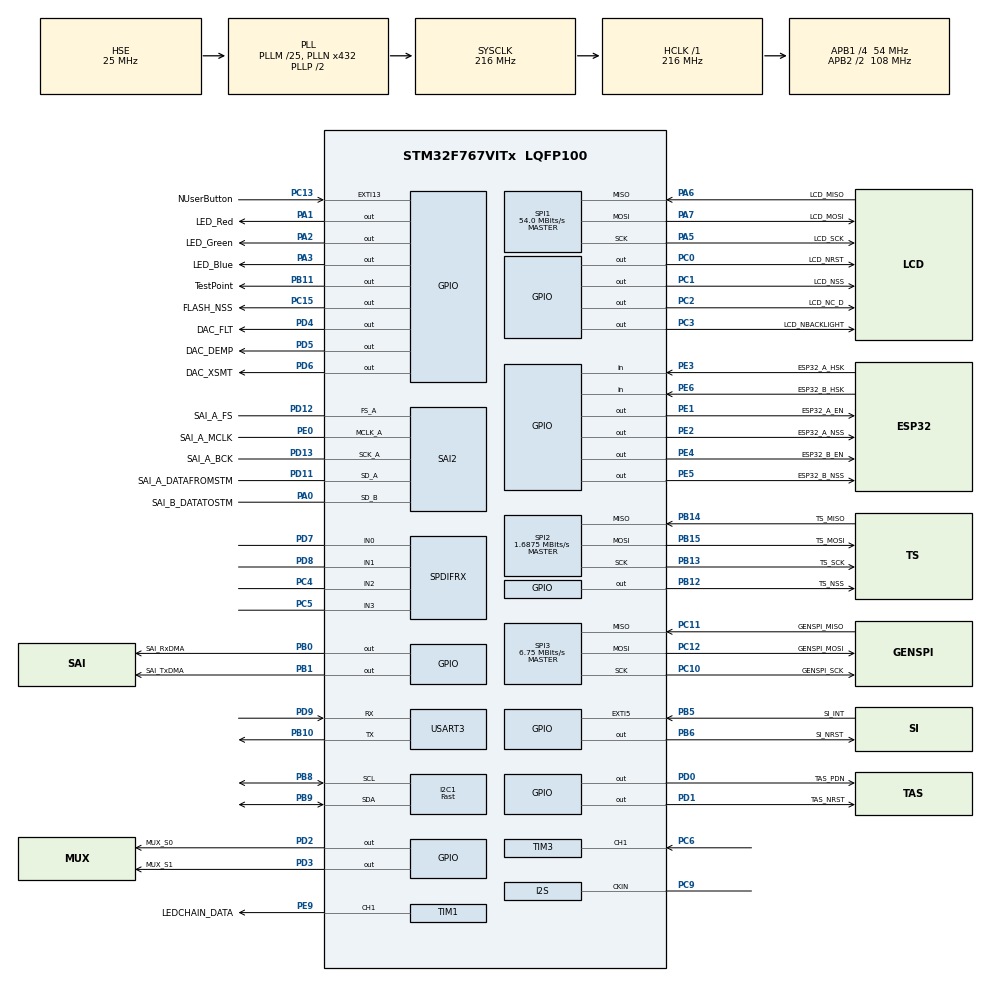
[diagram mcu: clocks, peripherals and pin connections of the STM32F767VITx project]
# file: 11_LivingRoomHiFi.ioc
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CORTEX_M7.CPU_DCache=Enabled
CORTEX_M7.CPU_ICache=Enabled
Dma.I2C1_RX.1.Direction=DMA_PERIPH_TO_MEMORY
Dma.I2C1_RX.1.FIFOMode=DMA_FIFOMODE_DISABLE
Dma.I2C1_RX.1.Instance=DMA1_Stream0
Dma.I2C1_RX.1.MemDataAlignment=DMA_MDATAALIGN_BYTE
Dma.I2C1_RX.1.MemInc=DMA_MINC_ENABLE
Dma.I2C1_RX.1.Mode=DMA_NORMAL
Dma.I2C1_RX.1.PeriphDataAlignment=DMA_PDATAALIGN_BYTE
Dma.I2C1_RX.1.PeriphInc=DMA_PINC_DISABLE
Dma.I2C1_RX.1.Priority=DMA_PRIORITY_HIGH
Dma.I2C1_TX.0.Direction=DMA_MEMORY_TO_PERIPH
Dma.I2C1_TX.0.FIFOMode=DMA_FIFOMODE_DISABLE
Dma.I2C1_TX.0.Instance=DMA1_Stream7
Dma.I2C1_TX.0.MemDataAlignment=DMA_MDATAALIGN_BYTE
Dma.I2C1_TX.0.MemInc=DMA_MINC_ENABLE
Dma.I2C1_TX.0.Mode=DMA_NORMAL
Dma.I2C1_TX.0.PeriphDataAlignment=DMA_PDATAALIGN_BYTE
Dma.I2C1_TX.0.PeriphInc=DMA_PINC_DISABLE
Dma.I2C1_TX.0.Priority=DMA_PRIORITY_HIGH
Dma.Request0=I2C1_TX
Dma.Request1=I2C1_RX
Dma.Request2=SPI1_TX
Dma.Request3=SAI2_A
Dma.Request4=SPDIF_RX_DT
Dma.Request5=SPDIF_RX_CS
Dma.Request6=TIM1_CH1
Dma.Request7=SPI3_TX
Dma.Request8=SAI2_B
Dma.SAI2_A.3.Direction=DMA_MEMORY_TO_PERIPH
Dma.SAI2_A.3.FIFOMode=DMA_FIFOMODE_DISABLE
Dma.SAI2_A.3.Instance=DMA2_Stream2
Dma.SAI2_A.3.MemDataAlignment=DMA_MDATAALIGN_WORD
Dma.SAI2_A.3.MemInc=DMA_MINC_ENABLE
Dma.SAI2_A.3.Mode=DMA_CIRCULAR
Dma.SAI2_A.3.PeriphDataAlignment=DMA_PDATAALIGN_WORD
Dma.SAI2_A.3.PeriphInc=DMA_PINC_DISABLE
Dma.SAI2_A.3.Priority=DMA_PRIORITY_HIGH
Dma.SAI2_B.8.Direction=DMA_PERIPH_TO_MEMORY
Dma.SAI2_B.8.FIFOMode=DMA_FIFOMODE_DISABLE
Dma.SAI2_B.8.Instance=DMA2_Stream6
Dma.SAI2_B.8.MemDataAlignment=DMA_MDATAALIGN_WORD
Dma.SAI2_B.8.MemInc=DMA_MINC_ENABLE
Dma.SAI2_B.8.Mode=DMA_CIRCULAR
Dma.SAI2_B.8.PeriphDataAlignment=DMA_PDATAALIGN_WORD
Dma.SAI2_B.8.PeriphInc=DMA_PINC_DISABLE
Dma.SAI2_B.8.Priority=DMA_PRIORITY_HIGH
Dma.SPDIF_RX_CS.5.Direction=DMA_PERIPH_TO_MEMORY
Dma.SPDIF_RX_CS.5.FIFOMode=DMA_FIFOMODE_DISABLE
Dma.SPDIF_RX_CS.5.Instance=DMA1_Stream6
Dma.SPDIF_RX_CS.5.MemDataAlignment=DMA_MDATAALIGN_WORD
Dma.SPDIF_RX_CS.5.MemInc=DMA_MINC_ENABLE
Dma.SPDIF_RX_CS.5.Mode=DMA_CIRCULAR
Dma.SPDIF_RX_CS.5.PeriphDataAlignment=DMA_PDATAALIGN_WORD
Dma.SPDIF_RX_CS.5.PeriphInc=DMA_PINC_DISABLE
Dma.SPDIF_RX_CS.5.Priority=DMA_PRIORITY_LOW
Dma.SPDIF_RX_DT.4.Direction=DMA_PERIPH_TO_MEMORY
Dma.SPDIF_RX_DT.4.FIFOMode=DMA_FIFOMODE_DISABLE
Dma.SPDIF_RX_DT.4.Instance=DMA1_Stream1
Dma.SPDIF_RX_DT.4.MemDataAlignment=DMA_MDATAALIGN_WORD
Dma.SPDIF_RX_DT.4.MemInc=DMA_MINC_ENABLE
Dma.SPDIF_RX_DT.4.Mode=DMA_CIRCULAR
Dma.SPDIF_RX_DT.4.PeriphDataAlignment=DMA_PDATAALIGN_WORD
Dma.SPDIF_RX_DT.4.PeriphInc=DMA_PINC_DISABLE
Dma.SPDIF_RX_DT.4.Priority=DMA_PRIORITY_HIGH
Dma.SPI1_TX.2.Direction=DMA_MEMORY_TO_PERIPH
Dma.SPI1_TX.2.FIFOMode=DMA_FIFOMODE_ENABLE
Dma.SPI1_TX.2.FIFOThreshold=DMA_FIFO_THRESHOLD_FULL
Dma.SPI1_TX.2.Instance=DMA2_Stream3
Dma.SPI1_TX.2.MemBurst=DMA_MBURST_SINGLE
Dma.SPI1_TX.2.MemDataAlignment=DMA_MDATAALIGN_BYTE
Dma.SPI1_TX.2.MemInc=DMA_MINC_ENABLE
Dma.SPI1_TX.2.Mode=DMA_NORMAL
Dma.SPI1_TX.2.PeriphBurst=DMA_PBURST_SINGLE
Dma.SPI1_TX.2.PeriphDataAlignment=DMA_PDATAALIGN_BYTE
Dma.SPI1_TX.2.PeriphInc=DMA_PINC_DISABLE
Dma.SPI1_TX.2.Priority=DMA_PRIORITY_MEDIUM
Dma.SPI3_TX.7.Direction=DMA_MEMORY_TO_PERIPH
Dma.SPI3_TX.7.FIFOMode=DMA_FIFOMODE_ENABLE
Dma.SPI3_TX.7.FIFOThreshold=DMA_FIFO_THRESHOLD_FULL
Dma.SPI3_TX.7.Instance=DMA1_Stream5
Dma.SPI3_TX.7.MemBurst=DMA_MBURST_SINGLE
Dma.SPI3_TX.7.MemDataAlignment=DMA_MDATAALIGN_BYTE
Dma.SPI3_TX.7.MemInc=DMA_MINC_ENABLE
Dma.SPI3_TX.7.Mode=DMA_NORMAL
Dma.SPI3_TX.7.PeriphBurst=DMA_PBURST_SINGLE
Dma.SPI3_TX.7.PeriphDataAlignment=DMA_PDATAALIGN_BYTE
Dma.SPI3_TX.7.PeriphInc=DMA_PINC_DISABLE
Dma.SPI3_TX.7.Priority=DMA_PRIORITY_HIGH
Dma.TIM1_CH1.6.Direction=DMA_MEMORY_TO_PERIPH
Dma.TIM1_CH1.6.FIFOMode=DMA_FIFOMODE_ENABLE
Dma.TIM1_CH1.6.FIFOThreshold=DMA_FIFO_THRESHOLD_FULL
Dma.TIM1_CH1.6.Instance=DMA2_Stream1
Dma.TIM1_CH1.6.MemBurst=DMA_MBURST_SINGLE
Dma.TIM1_CH1.6.MemDataAlignment=DMA_MDATAALIGN_HALFWORD
Dma.TIM1_CH1.6.MemInc=DMA_MINC_ENABLE
Dma.TIM1_CH1.6.Mode=DMA_NORMAL
Dma.TIM1_CH1.6.PeriphBurst=DMA_PBURST_SINGLE
Dma.TIM1_CH1.6.PeriphDataAlignment=DMA_PDATAALIGN_HALFWORD
Dma.TIM1_CH1.6.PeriphInc=DMA_PINC_DISABLE
Dma.TIM1_CH1.6.Priority=DMA_PRIORITY_MEDIUM
FREERTOS.BinarySemaphores01=GenSPITransferCompleteSemaphore,Dynamic,NULL
FREERTOS.Mutexes01=SPI3_Mutex,Dynamic,NULL
FREERTOS.Queues01=ProcessAudioTaskParameterQueue,1,uint16_t,0,Dynamic,NULL,NULL
FREERTOS.Tasks01=MainTask,0,2048,MainTask_Start,Default,NULL,Dynamic,NULL,NULL;ProcessAudioTask,1,2048,ProcessAudioTask_Start,Default,NULL,Dynamic,NULL,NULL
FREERTOS.configMAX_TASK_NAME_LEN=32
FREERTOS.configMINIMAL_STACK_SIZE=2048
FREERTOS.configTOTAL_HEAP_SIZE=65536
FREERTOS.configUSE_NEWLIB_REENTRANT=1
I2C1.I2C_Speed_Mode=I2C_Fast
I2C1.Timing=0x6000030D
Mcu.Family=STM32F7
Mcu.Name=STM32F767VITx
Mcu.Package=LQFP100
NVIC.DMA1_Stream0_IRQn=true\:5\:0\:false\:false\:true\:true\:false\:true\:true
NVIC.DMA1_Stream1_IRQn=true\:5\:0\:false\:false\:true\:true\:false\:true\:true
NVIC.DMA1_Stream5_IRQn=true\:5\:0\:false\:false\:true\:true\:false\:true\:true
NVIC.DMA1_Stream6_IRQn=true\:5\:0\:false\:false\:true\:true\:false\:true\:true
NVIC.DMA1_Stream7_IRQn=true\:5\:0\:false\:false\:true\:true\:false\:true\:true
NVIC.DMA2_Stream1_IRQn=true\:5\:0\:false\:false\:true\:true\:false\:true\:true
NVIC.DMA2_Stream2_IRQn=true\:5\:0\:true\:false\:true\:true\:false\:true\:true
NVIC.DMA2_Stream3_IRQn=true\:5\:0\:false\:false\:true\:true\:false\:true\:true
NVIC.DMA2_Stream6_IRQn=true\:5\:0\:false\:false\:true\:true\:false\:true\:true
NVIC.EXTI15_10_IRQn=true\:5\:0\:false\:false\:true\:true\:true\:true\:true
NVIC.EXTI9_5_IRQn=true\:5\:0\:false\:false\:true\:true\:true\:true\:true
NVIC.I2C1_ER_IRQn=true\:5\:0\:false\:false\:true\:true\:true\:true\:true
NVIC.I2C1_EV_IRQn=true\:5\:0\:false\:false\:true\:true\:true\:true\:true
NVIC.PriorityGroup=NVIC_PRIORITYGROUP_4
NVIC.SPDIF_RX_IRQn=true\:5\:0\:false\:false\:true\:true\:true\:true\:true
NVIC.TIM1_TRG_COM_TIM11_IRQn=true\:5\:0\:false\:false\:true\:true\:true\:true\:true
NVIC.TIM3_IRQn=true\:5\:0\:false\:false\:true\:true\:true\:true\:true
NVIC.TIM8_TRG_COM_TIM14_IRQn=true\:15\:0\:false\:false\:true\:false\:false\:true\:true
NVIC.TimeBase=TIM8_TRG_COM_TIM14_IRQn
NVIC.TimeBaseIP=TIM14
PA0/WKUP.GPIO_Label=SAI_B_DATATOSTM
PA0/WKUP.Mode=SAI_B_SyncSlave
PA0/WKUP.Signal=SAI2_SD_B
PA1.GPIO_Label=LED_Red
PA1.Signal=GPIO_Output
PA13.GPIO_Label=SWDIO
PA13.Mode=Trace_Asynchronous_SW
PA13.Signal=SYS_JTMS-SWDIO
PA14.GPIO_Label=SWCLK
PA14.Mode=Trace_Asynchronous_SW
PA14.Signal=SYS_JTCK-SWCLK
PA2.GPIO_Label=LED_Green
PA2.Signal=GPIO_Output
PA3.GPIO_Label=LED_Blue
PA3.Signal=GPIO_Output
PA5.GPIO_Label=LCD_SCK
PA5.Mode=Full_Duplex_Master
PA5.Signal=SPI1_SCK
PA6.GPIO_Label=LCD_MISO
PA6.Mode=Full_Duplex_Master
PA6.Signal=SPI1_MISO
PA7.GPIO_Label=LCD_MOSI
PA7.Mode=Full_Duplex_Master
PA7.Signal=SPI1_MOSI
PB0.GPIO_Label=SAI_RxDMA
PB0.GPIO_Speed=GPIO_SPEED_FREQ_HIGH
PB0.Signal=GPIO_Output
PB1.GPIO_Label=SAI_TxDMA
PB1.GPIO_Speed=GPIO_SPEED_FREQ_HIGH
PB1.Signal=GPIO_Output
PB10.Mode=Asynchronous
PB10.Signal=USART3_TX
PB11.GPIO_Label=TestPoint
PB11.GPIO_Speed=GPIO_SPEED_FREQ_HIGH
PB11.PinState=GPIO_PIN_RESET
PB11.Signal=GPIO_Output
PB12.GPIO_Label=TS_NSS
PB12.Signal=GPIO_Output
PB13.GPIO_Label=TS_SCK
PB13.Mode=Full_Duplex_Master
PB13.Signal=SPI2_SCK
PB14.GPIO_Label=TS_MISO
PB14.Mode=Full_Duplex_Master
PB14.Signal=SPI2_MISO
PB15.GPIO_Label=TS_MOSI
PB15.Mode=Full_Duplex_Master
PB15.Signal=SPI2_MOSI
PB3.Mode=Trace_Asynchronous_SW
PB3.Signal=SYS_JTDO-SWO
PB5.GPIO_Label=SI_INT
PB5.GPIO_ModeDefaultEXTI=GPIO_MODE_IT_FALLING
PB5.Signal=GPXTI5
PB6.GPIO_Label=SI_NRST
PB6.Signal=GPIO_Output
PB8.GPIO_Pu=GPIO_PULLUP
PB8.Mode=I2C
PB8.Signal=I2C1_SCL
PB9.GPIO_Pu=GPIO_PULLUP
PB9.Mode=I2C
PB9.Signal=I2C1_SDA
PC0.GPIO_Label=LCD_NRST
PC0.Signal=GPIO_Output
PC1.GPIO_Label=LCD_NSS
PC1.Signal=GPIO_Output
PC10.GPIO_Label=GENSPI_SCK
PC10.Mode=Full_Duplex_Master
PC10.Signal=SPI3_SCK
PC11.GPIO_Label=GENSPI_MISO
PC11.Mode=Full_Duplex_Master
PC11.Signal=SPI3_MISO
PC12.GPIO_Label=GENSPI_MOSI
PC12.Mode=Full_Duplex_Master
PC12.Signal=SPI3_MOSI
PC13.GPIO_Label=NUserButton
PC13.GPIO_ModeDefaultEXTI=GPIO_MODE_IT_FALLING
PC13.GPIO_PuPd=GPIO_PULLUP
PC13.Signal=GPXTI13
PC15/OSC32_OUT.GPIO_Label=FLASH_NSS
PC15/OSC32_OUT.PinState=GPIO_PIN_SET
PC15/OSC32_OUT.Signal=GPIO_Output
PC2.GPIO_Label=LCD_NC_D
PC2.Signal=GPIO_Output
PC3.GPIO_Label=LCD_NBACKLIGHT
PC3.Signal=GPIO_Output
PC4.Mode=IN2
PC4.Signal=SPDIFRX_IN2
PC5.Mode=IN3
PC5.Signal=SPDIFRX_IN3
PC6.Signal=S_TIM3_CH1
PC9.Mode=Audio_ClockIn
PC9.Signal=I2S_CKIN
PD0.GPIO_Label=TAS_PDN
PD0.Signal=GPIO_Output
PD1.GPIO_Label=TAS_NRST
PD1.Signal=GPIO_Output
PD11.GPIO_Label=SAI_A_DATAFROMSTM
PD11.Mode=SAI_A_MasterWithClock
PD11.Signal=SAI2_SD_A
PD12.GPIO_Label=SAI_A_FS
PD12.Mode=SAI_A_MasterWithClock
PD12.Signal=SAI2_FS_A
PD13.GPIO_Label=SAI_A_BCK
PD13.Mode=SAI_A_MasterWithClock
PD13.Signal=SAI2_SCK_A
PD2.GPIO_Label=MUX_S0
PD2.Signal=GPIO_Output
PD3.GPIO_Label=MUX_S1
PD3.Signal=GPIO_Output
PD4.GPIO_Label=DAC_FLT
PD4.Signal=GPIO_Output
PD5.GPIO_Label=DAC_DEMP
PD5.Signal=GPIO_Output
PD6.GPIO_Label=DAC_XSMT
PD6.Signal=GPIO_Output
PD7.Mode=IN0
PD7.Signal=SPDIFRX_IN0
PD8.Mode=IN1
PD8.Signal=SPDIFRX_IN1
PD9.Mode=Asynchronous
PD9.Signal=USART3_RX
PE0.GPIO_Label=SAI_A_MCLK
PE0.Mode=SAI_A_MasterWithClock
PE0.Signal=SAI2_MCLK_A
PE1.GPIO_Label=ESP32_A_EN
PE1.GPIO_Speed=GPIO_SPEED_FREQ_LOW
PE1.PinState=GPIO_PIN_RESET
PE1.Signal=GPIO_Output
PE2.GPIO_Label=ESP32_A_NSS
PE2.GPIO_Speed=GPIO_SPEED_FREQ_HIGH
PE2.PinState=GPIO_PIN_SET
PE2.Signal=GPIO_Output
PE3.GPIO_Label=ESP32_A_HSK
PE3.Signal=GPIO_Input
PE4.GPIO_Label=ESP32_B_EN
PE4.GPIO_Speed=GPIO_SPEED_FREQ_LOW
PE4.PinState=GPIO_PIN_RESET
PE4.Signal=GPIO_Output
PE5.GPIO_Label=ESP32_B_NSS
PE5.GPIO_Speed=GPIO_SPEED_FREQ_HIGH
PE5.PinState=GPIO_PIN_SET
PE5.Signal=GPIO_Output
PE6.GPIO_Label=ESP32_B_HSK
PE6.Signal=GPIO_Input
PE9.GPIO_Label=LEDCHAIN_DATA
PE9.GPIO_Speed=GPIO_SPEED_FREQ_HIGH
PE9.Signal=S_TIM1_CH1
PH0/OSC_IN.GPIO_Label=MCU_CLK_IN
PH0/OSC_IN.Mode=HSE-External-Clock-Source
PH0/OSC_IN.Signal=RCC_OSC_IN
PH1/OSC_OUT.Mode=HSE-External-Clock-Source
PH1/OSC_OUT.Signal=RCC_OSC_OUT
ProjectManager.HeapSize=0x2000
ProjectManager.StackSize=0x4000
ProjectManager.TargetToolchain=STM32CubeIDE
RCC.AHBFreq_Value=216000000
RCC.APB1CLKDivider=RCC_HCLK_DIV4
RCC.APB1Freq_Value=54000000
RCC.APB1TimFreq_Value=108000000
RCC.APB2CLKDivider=RCC_HCLK_DIV2
RCC.APB2Freq_Value=108000000
RCC.APB2TimFreq_Value=216000000
RCC.CortexFreq_Value=216000000
RCC.EXTERNAL_CLOCK_VALUE=11289600
RCC.HCLKFreq_Value=216000000
RCC.HSE_VALUE=25000000
RCC.HSI_VALUE=16000000
RCC.LSE_VALUE=32768
RCC.PLLI2SN=344
RCC.PLLI2SQ=14
RCC.PLLM=25
RCC.PLLN=432
RCC.PLLSAIN=429
RCC.PLLSAIQDiv=19
RCC.PLLSourceVirtual=RCC_PLLSOURCE_HSE
RCC.SAI2CLockSelection=RCC_SAI2CLKSOURCE_PLLI2S
RCC.SYSCLKFreq_VALUE=216000000
RCC.SYSCLKSource=RCC_SYSCLKSOURCE_PLLCLK
RCC.USBFreq_Value=216000000
RCC.VCOOutputFreq_Value=432000000
SAI2.AudioFrequency-SAI_A_MasterWithClock=SAI_AUDIO_FREQUENCY_48K
SAI2.BasicDataSize-SAI_A_MasterWithClock=SAI_PROTOCOL_DATASIZE_24BIT
SAI2.BasicDataSize-SAI_B_SyncSlave=SAI_PROTOCOL_DATASIZE_24BIT
SAI2.ErrorAudioFreq-SAI_A_MasterWithClock=-0.01 %
SAI2.InitProtocol-SAI_A_MasterWithClock=Enable
SAI2.InitProtocol-SAI_B_SyncSlave=Enable
SAI2.Instance-SAI_A_MasterWithClock=SAI$Index_Block_A
SAI2.Instance-SAI_B_SyncSlave=SAI$Index_Block_B
SAI2.MClockEnable-SAI_A_MasterWithClock=SAI_MASTERCLOCK_ENABLE
SAI2.NoDivider-SAI_A_MasterWithClock=SAI_MASTERDIVIDER_ENABLE
SAI2.RealAudioFreq-SAI_A_MasterWithClock=47.991 KHz
SAI2.Synchro-SAI_A_MasterWithClock=SAI_ASYNCHRONOUS
SAI2.Synchro-SAI_B_SyncSlave=SAI_SYNCHRONOUS
SAI2.VirtualMode-SAI_A_MasterWithClock=VM_MASTER
SAI2.VirtualMode-SAI_B_SyncSlave=VM_SLAVE
SAI2.VirtualProtocol-SAI_A_BASIC=VM_BASIC_PROTOCOL
SAI2.VirtualProtocol-SAI_B_BASIC=VM_BASIC_PROTOCOL
SH.S_TIM1_CH1.0=TIM1_CH1,PWM Generation1 CH1
SH.S_TIM3_CH1.0=TIM3_CH1,Input_Capture1_from_TI1
SH.S_TIM3_CH1.1=TIM3_CH1,TriggerSource_TI1FP1
SPDIFRX.ChannelStatusMask=SPDIFRX_CHANNELSTATUS_ON
SPDIFRX.DataFormat=SPDIFRX_DATAFORMAT_MSB
SPDIFRX.ParityErrorMask=SPDIFRX_PARITYERRORMASK_ON
SPDIFRX.PreambleTypeMask=SPDIFRX_PREAMBLETYPEMASK_ON
SPDIFRX.Retries=SPDIFRX_MAXRETRIES_15
SPDIFRX.StereoMode=SPDIFRX_STEREOMODE_ENABLE
SPDIFRX.ValidityBitMask=SPDIFRX_VALIDITYMASK_ON
SPDIFRX.WaitForActivity=SPDIFRX_WAITFORACTIVITY_ON
SPI1.BaudRatePrescaler=SPI_BAUDRATEPRESCALER_2
SPI1.CalculateBaudRate=54.0 MBits/s
SPI1.DataSize=SPI_DATASIZE_8BIT
SPI1.Direction=SPI_DIRECTION_2LINES
SPI1.Mode=SPI_MODE_MASTER
SPI1.VirtualType=VM_MASTER
SPI2.BaudRatePrescaler=SPI_BAUDRATEPRESCALER_32
SPI2.CalculateBaudRate=1.6875 MBits/s
SPI2.DataSize=SPI_DATASIZE_8BIT
SPI2.Direction=SPI_DIRECTION_2LINES
SPI2.Mode=SPI_MODE_MASTER
SPI2.VirtualType=VM_MASTER
SPI3.BaudRatePrescaler=SPI_BAUDRATEPRESCALER_8
SPI3.CalculateBaudRate=6.75 MBits/s
SPI3.DataSize=SPI_DATASIZE_8BIT
SPI3.Direction=SPI_DIRECTION_2LINES
SPI3.Mode=SPI_MODE_MASTER
SPI3.VirtualType=VM_MASTER
TIM1.AutoReloadPreload=TIM_AUTORELOAD_PRELOAD_ENABLE
TIM1.Channel-PWM\ Generation1\ CH1=TIM_CHANNEL_1
TIM1.OCIdleState_1=TIM_OCIDLESTATE_RESET
TIM1.OCPolarity_1=TIM_OCPOLARITY_HIGH
TIM1.Period=269
TIM1.Pulse-PWM\ Generation1\ CH1=0
TIM11.Channel=TIM_CHANNEL_1
TIM11.Period=0xFFFF
TIM11.TIM11_TI1_REMAP=TIM_TIM11_SPDIFRX
TIM3.Channel-Input_Capture1_from_TI1=TIM_CHANNEL_1
TIM3.ICPolarity_CH1=TIM_INPUTCHANNELPOLARITY_BOTHEDGE
TIM3.Period=4999
TIM3.Prescaler=107
USART3.VirtualMode-Asynchronous=VM_ASYNC
VP_FREERTOS_VS_CMSIS_V1.Mode=CMSIS_V1
VP_SAI2_VP_$IpInstance_SAIA_SAI_BASIC.Mode=SAI_A_BASIC
VP_SAI2_VP_$IpInstance_SAIB_SAI_BASIC.Mode=SAI_B_BASIC
VP_SYS_VS_tim14.Mode=TIM14
VP_TIM11_VS_ClockSourceINT.Mode=Enable_Timer
VP_TIM11_VS_NoInput1.Mode=Input_Capture1_from_TI1_REMAP_TIM11
VP_TIM3_VS_ClockSourceINT.Mode=Internal
VP_TIM3_VS_ControllerModeReset.Mode=Reset Mode
board=07_SPDIF_to_DAC+PA

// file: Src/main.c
/* USER CODE BEGIN Header */
/**
  ******************************************************************************
  * @file           : main.c
  * @brief          : Main program body
  ******************************************************************************
  ** This notice applies to any and all portions of this file
  * that are not between comment pairs USER CODE BEGIN and
  * USER CODE END. Other portions of this file, whether
  * inserted by the user or by software development tools
  * are owned by their respective copyright owners.
  *
  * COPYRIGHT(c) 2018 STMicroelectronics
  *
  * Redistribution and use in source and binary forms, with or without modification,
  * are permitted provided that the following conditions are met:
  *   1. Redistributions of source code must retain the above copyright notice,
  *      this list of conditions and the following disclaimer.
  *   2. Redistributions in binary form must reproduce the above copyright notice,
  *      this list of conditions and the following disclaimer in the documentation
  *      and/or other materials provided with the distribution.
  *   3. Neither the name of STMicroelectronics nor the names of its contributors
  *      may be used to endorse or promote products derived from this software
  *      without specific prior written permission.
  *
  * THIS SOFTWARE IS PROVIDED BY THE COPYRIGHT HOLDERS AND CONTRIBUTORS "AS IS"
  * AND ANY EXPRESS OR IMPLIED WARRANTIES, INCLUDING, BUT NOT LIMITED TO, THE
  * IMPLIED WARRANTIES OF MERCHANTABILITY AND FITNESS FOR A PARTICULAR PURPOSE ARE
  * DISCLAIMED. IN NO EVENT SHALL THE COPYRIGHT HOLDER OR CONTRIBUTORS BE LIABLE
  * FOR ANY DIRECT, INDIRECT, INCIDENTAL, SPECIAL, EXEMPLARY, OR CONSEQUENTIAL
  * DAMAGES (INCLUDING, BUT NOT LIMITED TO, PROCUREMENT OF SUBSTITUTE GOODS OR
  * SERVICES; LOSS OF USE, DATA, OR PROFITS; OR BUSINESS INTERRUPTION) HOWEVER
  * CAUSED AND ON ANY THEORY OF LIABILITY, WHETHER IN CONTRACT, STRICT LIABILITY,
  * OR TORT (INCLUDING NEGLIGENCE OR OTHERWISE) ARISING IN ANY WAY OUT OF THE USE
  * OF THIS SOFTWARE, EVEN IF ADVISED OF THE POSSIBILITY OF SUCH DAMAGE.
  *
  ******************************************************************************
  */
/* USER CODE END Header */
#include "main.h"
#include "cmsis_os.h"
#include "dma.h"
#include "i2c.h"
#include "sai.h"
#include "spdifrx.h"
#include "spi.h"
#include "tim.h"
#include "usart.h"
#include "gpio.h"

/* USER CODE BEGIN Includes */

#include "JSB_General.h"
#include "JSB_DWT.h"
#include "PJB_STM32_ESP32_FM_DAB_ADC_DAC_PA.h"
#include "go.h"

/* USER CODE END Includes */

/* USER CODE BEGIN PV */
/* Private variables ---------------------------------------------------------*/

/* USER CODE END PV */

void SystemClock_Config(void);
void PeriphCommonClock_Config(void);
void MX_FREERTOS_Init(void);
/* USER CODE BEGIN PFP */
/* Private function prototypes -----------------------------------------------*/

/* USER CODE END PFP */

/* USER CODE BEGIN 0 */

#ifdef __GNUC__
#define PUTCHAR_PROTOTYPE int __io_putchar(int ch)
#else
#define PUTCHAR_PROTOTYPE int fputc(int ch, FILE *f)
#endif

PUTCHAR_PROTOTYPE
// Hook printf.
// JSB: Requires "syscalls.c" in order to intercept printf() etc.
// JSB: Output from PB10 = pin 46 of STM32F7. Suitable GND is pin 49  of STM32F7.
{
  HAL_UART_Transmit(&huart3, (uint8_t *)&ch, 1, 0xFFFF);
  return ch;
}

/* USER CODE END 0 */

int main(void)
{

  /* Enable the CPU Cache */

  /* Enable I-Cache---------------------------------------------------------*/
  SCB_EnableICache();

  /* Enable D-Cache---------------------------------------------------------*/
  SCB_EnableDCache();

  /* MCU Configuration--------------------------------------------------------*/

  /* Reset of all peripherals, Initializes the Flash interface and the Systick. */
  HAL_Init();

  /* USER CODE BEGIN Init */

  Enable_DWT_Delay();

  /* USER CODE END Init */

  /* Configure the system clock */
  SystemClock_Config();

  /* Configure the peripherals common clocks */
  PeriphCommonClock_Config();

  /* Initialize all configured peripherals */
  MX_GPIO_Init();
  MX_DMA_Init();
  MX_I2C1_Init();
  MX_SPI1_Init();
  MX_SPI2_Init();
  MX_SPI3_Init();
  MX_TIM1_Init();
  MX_SAI2_Init();
  MX_SPDIFRX_Init();
  MX_TIM11_Init();
  MX_TIM3_Init();
  MX_USART3_UART_Init();

  /* Call init function for freertos objects (in cmsis_os2.c) */
  MX_FREERTOS_Init();

  /* Start scheduler */
  osKernelStart();

  /* We should never get here as control is now taken by the scheduler */

  /* Infinite loop */
  while (1)
  {

  }
}

void SystemClock_Config(void)
{
  RCC_OscInitTypeDef RCC_OscInitStruct = {0};
  RCC_ClkInitTypeDef RCC_ClkInitStruct = {0};

  /** Configure the main internal regulator output voltage
  */
  __HAL_RCC_PWR_CLK_ENABLE();
  __HAL_PWR_VOLTAGESCALING_CONFIG(PWR_REGULATOR_VOLTAGE_SCALE1);

  /** Initializes the RCC Oscillators according to the specified parameters
  * in the RCC_OscInitTypeDef structure.
  */
  RCC_OscInitStruct.OscillatorType = RCC_OSCILLATORTYPE_HSE;
  RCC_OscInitStruct.HSEState = RCC_HSE_BYPASS;
  RCC_OscInitStruct.PLL.PLLState = RCC_PLL_ON;
  RCC_OscInitStruct.PLL.PLLSource = RCC_PLLSOURCE_HSE;
  RCC_OscInitStruct.PLL.PLLM = 25;
  RCC_OscInitStruct.PLL.PLLN = 432;
  RCC_OscInitStruct.PLL.PLLP = RCC_PLLP_DIV2;
  RCC_OscInitStruct.PLL.PLLQ = 2;
  RCC_OscInitStruct.PLL.PLLR = 2;
  if (HAL_RCC_OscConfig(&RCC_OscInitStruct) != HAL_OK)
  {
    Error_Handler();
  }

  /** Activate the Over-Drive mode
  */
  if (HAL_PWREx_EnableOverDrive() != HAL_OK)
  {
    Error_Handler();
  }

  /** Initializes the CPU, AHB and APB buses clocks
  */
  RCC_ClkInitStruct.ClockType = RCC_CLOCKTYPE_HCLK|RCC_CLOCKTYPE_SYSCLK
                              |RCC_CLOCKTYPE_PCLK1|RCC_CLOCKTYPE_PCLK2;
  RCC_ClkInitStruct.SYSCLKSource = RCC_SYSCLKSOURCE_PLLCLK;
  RCC_ClkInitStruct.AHBCLKDivider = RCC_SYSCLK_DIV1;
  RCC_ClkInitStruct.APB1CLKDivider = RCC_HCLK_DIV4;
  RCC_ClkInitStruct.APB2CLKDivider = RCC_HCLK_DIV2;

  if (HAL_RCC_ClockConfig(&RCC_ClkInitStruct, FLASH_LATENCY_7) != HAL_OK)
  {
    Error_Handler();
  }
}

void PeriphCommonClock_Config(void)
{
  RCC_PeriphCLKInitTypeDef PeriphClkInitStruct = {0};

  /** Initializes the peripherals clock
  */
  PeriphClkInitStruct.PeriphClockSelection = RCC_PERIPHCLK_SPDIFRX|RCC_PERIPHCLK_SAI2;
  PeriphClkInitStruct.PLLI2S.PLLI2SN = 344;
  PeriphClkInitStruct.PLLI2S.PLLI2SP = RCC_PLLP_DIV2;
  PeriphClkInitStruct.PLLI2S.PLLI2SR = 2;
  PeriphClkInitStruct.PLLI2S.PLLI2SQ = 14;
  PeriphClkInitStruct.PLLI2SDivQ = 1;
  PeriphClkInitStruct.Sai2ClockSelection = RCC_SAI2CLKSOURCE_PLLI2S;
  if (HAL_RCCEx_PeriphCLKConfig(&PeriphClkInitStruct) != HAL_OK)
  {
    Error_Handler();
  }
}

void HAL_TIM_PeriodElapsedCallback(TIM_HandleTypeDef *htim)
{
  if (htim->Instance == TIM14)
  {
    HAL_IncTick();
  }
}

void Error_Handler(void)
{
  /* USER CODE BEGIN Error_Handler_Debug */
  /* User can add his own implementation to report the HAL error return state */
  while(1)
  {
    ToggleLED(LED_Red);
    HAL_Delay(50);
    ToggleLED(LED_Red);
    HAL_Delay(50);
  }
  /* USER CODE END Error_Handler_Debug */
}

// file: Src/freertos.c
/* USER CODE BEGIN Header */
/**
  ******************************************************************************
  * File Name          : freertos.c
  * Description        : Code for freertos applications
  ******************************************************************************
  * This notice applies to any and all portions of this file
  * that are not between comment pairs USER CODE BEGIN and
  * USER CODE END. Other portions of this file, whether
  * inserted by the user or by software development tools
  * are owned by their respective copyright owners.
  *
  * Copyright (c) 2019 STMicroelectronics International N.V.
  * All rights reserved.
  *
  * Redistribution and use in source and binary forms, with or without
  * modification, are permitted, provided that the following conditions are met:
  *
  * 1. Redistribution of source code must retain the above copyright notice,
  *    this list of conditions and the following disclaimer.
  * 2. Redistributions in binary form must reproduce the above copyright notice,
  *    this list of conditions and the following disclaimer in the documentation
  *    and/or other materials provided with the distribution.
  * 3. Neither the name of STMicroelectronics nor the names of other
  *    contributors to this software may be used to endorse or promote products
  *    derived from this software without specific written permission.
  * 4. This software, including modifications and/or derivative works of this
  *    software, must execute solely and exclusively on microcontroller or
  *    microprocessor devices manufactured by or for STMicroelectronics.
  * 5. Redistribution and use of this software other than as permitted under
  *    this license is void and will automatically terminate your rights under
  *    this license.
  *
  * THIS SOFTWARE IS PROVIDED BY STMICROELECTRONICS AND CONTRIBUTORS "AS IS"
  * AND ANY EXPRESS, IMPLIED OR STATUTORY WARRANTIES, INCLUDING, BUT NOT
  * LIMITED TO, THE IMPLIED WARRANTIES OF MERCHANTABILITY, FITNESS FOR A
  * PARTICULAR PURPOSE AND NON-INFRINGEMENT OF THIRD PARTY INTELLECTUAL PROPERTY
  * RIGHTS ARE DISCLAIMED TO THE FULLEST EXTENT PERMITTED BY LAW. IN NO EVENT
  * SHALL STMICROELECTRONICS OR CONTRIBUTORS BE LIABLE FOR ANY DIRECT, INDIRECT,
  * INCIDENTAL, SPECIAL, EXEMPLARY, OR CONSEQUENTIAL DAMAGES (INCLUDING, BUT NOT
  * LIMITED TO, PROCUREMENT OF SUBSTITUTE GOODS OR SERVICES; LOSS OF USE, DATA,
  * OR PROFITS; OR BUSINESS INTERRUPTION) HOWEVER CAUSED AND ON ANY THEORY OF
  * LIABILITY, WHETHER IN CONTRACT, STRICT LIABILITY, OR TORT (INCLUDING
  * NEGLIGENCE OR OTHERWISE) ARISING IN ANY WAY OUT OF THE USE OF THIS SOFTWARE,
  * EVEN IF ADVISED OF THE POSSIBILITY OF SUCH DAMAGE.
  *
  ******************************************************************************
  */
/* USER CODE END Header */

#include "FreeRTOS.h"
#include "task.h"
#include "main.h"
#include "cmsis_os.h"

/* USER CODE BEGIN Includes */

#include "JSB_General.h"
 #include "go.h"

/* USER CODE END Includes */

osThreadId MainTaskHandle;
osThreadId ProcessAudioTaskHandle;
osMessageQId ProcessAudioTaskParameterQueueHandle;
osMutexId SPI3_MutexHandle;
osSemaphoreId GenSPITransferCompleteSemaphoreHandle;

void MainTask_Start(void const * argument);
void ProcessAudioTask_Start(void const * argument);

void MX_FREERTOS_Init(void); /* (MISRA C 2004 rule 8.1) */

/* GetIdleTaskMemory prototype (linked to static allocation support) */
void vApplicationGetIdleTaskMemory( StaticTask_t **ppxIdleTaskTCBBuffer, StackType_t **ppxIdleTaskStackBuffer, uint32_t *pulIdleTaskStackSize );

/* USER CODE BEGIN GET_IDLE_TASK_MEMORY */
static StaticTask_t xIdleTaskTCBBuffer;
static StackType_t xIdleStack[configMINIMAL_STACK_SIZE];

void vApplicationGetIdleTaskMemory( StaticTask_t **ppxIdleTaskTCBBuffer, StackType_t **ppxIdleTaskStackBuffer, uint32_t *pulIdleTaskStackSize )
{
  *ppxIdleTaskTCBBuffer = &xIdleTaskTCBBuffer;
  *ppxIdleTaskStackBuffer = &xIdleStack[0];
  *pulIdleTaskStackSize = configMINIMAL_STACK_SIZE;
  /* place for user code */
}
/* USER CODE END GET_IDLE_TASK_MEMORY */

void MX_FREERTOS_Init(void) {
  /* Create the mutex(es) */
  /* definition and creation of SPI3_Mutex */
  osMutexDef(SPI3_Mutex);
  SPI3_MutexHandle = osMutexCreate(osMutex(SPI3_Mutex));

  /* Create the semaphores(s) */
  /* definition and creation of GenSPITransferCompleteSemaphore */
  osSemaphoreDef(GenSPITransferCompleteSemaphore);
  GenSPITransferCompleteSemaphoreHandle = osSemaphoreCreate(osSemaphore(GenSPITransferCompleteSemaphore), 1);

  /* Create the queue(s) */
  /* definition and creation of ProcessAudioTaskParameterQueue */
  osMessageQDef(ProcessAudioTaskParameterQueue, 1, uint16_t);
  ProcessAudioTaskParameterQueueHandle = osMessageCreate(osMessageQ(ProcessAudioTaskParameterQueue), NULL);

  /* Create the thread(s) */
  /* definition and creation of MainTask */
  osThreadDef(MainTask, MainTask_Start, osPriorityNormal, 0, 2048);
  MainTaskHandle = osThreadCreate(osThread(MainTask), NULL);

  /* definition and creation of ProcessAudioTask */
  osThreadDef(ProcessAudioTask, ProcessAudioTask_Start, osPriorityAboveNormal, 0, 2048);
  ProcessAudioTaskHandle = osThreadCreate(osThread(ProcessAudioTask), NULL);

}

void MainTask_Start(void const * argument)
{
  /* USER CODE BEGIN MainTask_Start */
  Go();

  /* Infinite loop */
  for(;;)
  {
    osDelay(1);
  }
  /* USER CODE END MainTask_Start */
}

void ProcessAudioTask_Start(void const * argument)
{
  /* USER CODE BEGIN ProcessAudioTask_Start */
  AudioBufferHalf_t AudioBufferHalf;

  /* Infinite loop */
  for(;;)
  {
    xQueueReceive(ProcessAudioTaskParameterQueueHandle, &AudioBufferHalf, portMAX_DELAY);
    ProcessAudio(AudioBufferHalf);
  }
  /* USER CODE END ProcessAudioTask_Start */
}
